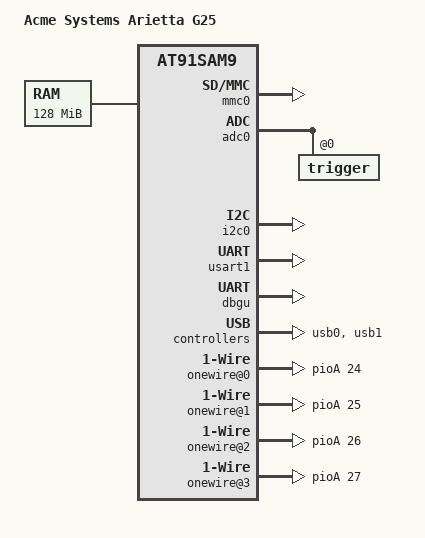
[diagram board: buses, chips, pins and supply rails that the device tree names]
/* acme-arietta.dts - Device Tree file for Arietta G25 */
/dts-v1/;
#include "at91sam9g25.dtsi"
/ {
	model = "Acme Systems Arietta G25";
	compatible = "acme,ariettag25", "atmel,at91sam9x5", "atmel,at91sam9";
	aliases {
		serial0 = &dbgu;
	};
	chosen {
		stdout-path = "serial0:115200n8";
		bootargs = "mem=256M  console=ttyS0,115200 root=/dev/mmcblk0p2 rw rootwait";
	};
	memory {
		reg = <0x20000000 0x8000000>;
	};
	clocks {
		slow_xtal {
			clock-frequency = <32768>;
		};
		main_xtal {
			clock-frequency = <12000000>;
		};
	};
	ahb {
		apb {
			mmc0: mmc@f0008000 {
				pinctrl-0 = <
				  &pinctrl_mmc0_slot0_clk_cmd_dat0
				  &pinctrl_mmc0_slot0_dat1_3>;
				status = "okay";
				slot@0 {
					reg = <0>;
					bus-width = <4>;
				};
			};
			
			pinctrl@fffff400 {
				adc0 {
					pinctrl_adc0_ad0: adc0_ad0 {
						atmel,pins = <AT91_PIOB 11 AT91_PERIPH_GPIO AT91_PINCTRL_NONE>;
					};
					pinctrl_adc0_ad1: adc0_ad1 {
						atmel,pins = <AT91_PIOB 12 AT91_PERIPH_GPIO AT91_PINCTRL_NONE>;
					};
					pinctrl_adc0_ad2: adc0_ad2 {
						atmel,pins = <AT91_PIOB 13 AT91_PERIPH_GPIO AT91_PINCTRL_NONE>;
					};
					pinctrl_adc0_ad3: adc0_ad3 {
						atmel,pins = <AT91_PIOB 14 AT91_PERIPH_GPIO AT91_PINCTRL_NONE>;
					};
				};
			};
			
			adc0: adc@f804c000 {
				status = "okay";
				pinctrl-names = "default";
				pinctrl-0 = <      &pinctrl_adc0_ad3>;
				atmel,adc-channels-used = <0xf>;
				atmel,adc-num-channels = <1>;
				compatible = "atmel,at91sam9x5-adc";
				atmel,adc-startup-time = <40>;
				atmel,adc-status-register = <0x1c>;
				atmel,adc-trigger-register = <0x08>;
				atmel,adc-use-external;
				atmel,adc-vref = <3250>;
				atmel,adc-res = <8 10>;
				atmel,adc-res-names = "lowres", "highres";
				atmel,adc-use-res = "highres";
				trigger@0 {
					trigger-name = "continuous";
					trigger-value = <0x6>;
				};
			};
			
			
			i2c0: i2c@f8010000 {
				status ="okay";
			};
			usart1: serial@f8020000 {
				pinctrl-0 = <&pinctrl_usart1 &pinctrl_usart1_rts &pinctrl_usart1_cts>;
				linux,rs485-enabled-at-boot-time;
				rs485-rts-delay = <0 0>;
				status ="okay";
			};
			ssc0: ssc@f0010000 {
				status = "okay";
			};
			dbgu: serial@fffff200 {
				status = "okay";
			};
			rtc@fffffeb0 {
				status = "okay";
			};
		};
		usb0: ohci@00600000 {
			status = "okay";
			num-ports = <3>;
		};
		usb1: ehci@00700000 {
			status = "okay";
		};
	};
	
	onewire@0 {
		compatible = "w1-gpio";
		gpios = <&pioA 24 GPIO_ACTIVE_LOW>;
	};
	onewire@1 {
		compatible = "w1-gpio";
		gpios = <&pioA 25 GPIO_ACTIVE_LOW>;
	};
	onewire@2 {
		compatible = "w1-gpio";
		gpios = <&pioA 26 GPIO_ACTIVE_LOW>;
	};
	onewire@3 {
		compatible = "w1-gpio";
		gpios = <&pioA 27 GPIO_ACTIVE_LOW>;
	};
};
